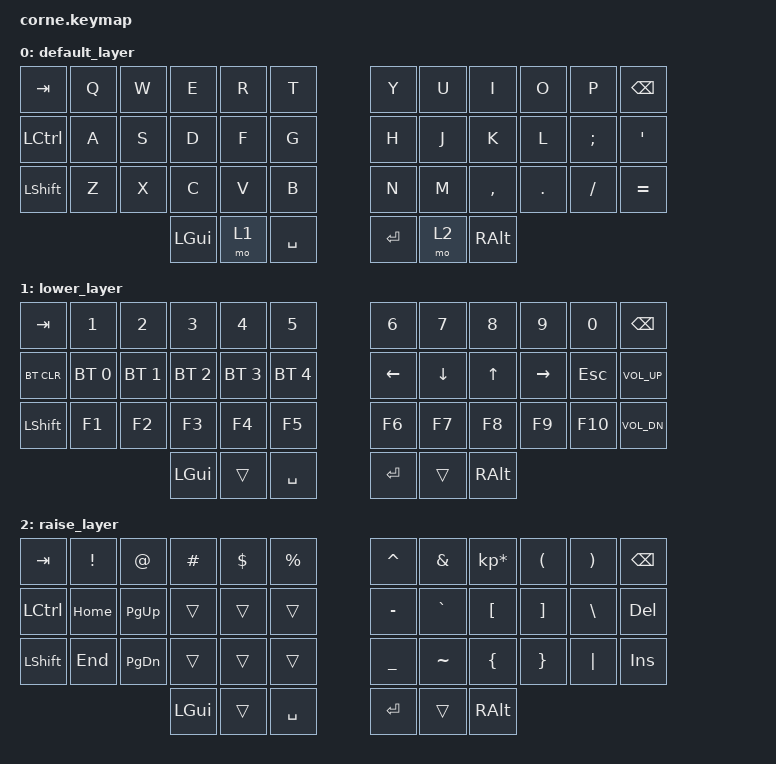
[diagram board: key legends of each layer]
/*
 * Copyright (c) 2020 The ZMK Contributors
 *
 * SPDX-License-Identifier: MIT
 */

#include <behaviors.dtsi>
#include <dt-bindings/zmk/keys.h>
#include <dt-bindings/zmk/bt.h>

/ {
    keymap {
        compatible = "zmk,keymap";

        default_layer {
            // -----------------------------------------------------------------------------------------
            // |  TAB |  Q  |  W  |  E  |  R  |  T  |   |  Y  |  U   |  I  |  O  |  P  | BKSP |
            // | CTRL |  A  |  S  |  D  |  F  |  G  |   |  H  |  J   |  K  |  L  |  ;  |  '   |
            // | SHFT |  Z  |  X  |  C  |  V  |  B  |   |  N  |  M   |  ,  |  .  |  /  | ESC  |
            //                    | GUI | LWR | SPC |   | ENT | RSE  | ALT |

            bindings = <
  &kp TAB  &kp Q  &kp W     &kp E  &kp R      &kp T      &kp Y  &kp U      &kp I    &kp O     &kp P   &kp BSPC
&kp LCTRL  &kp A  &kp S     &kp D  &kp F      &kp G      &kp H  &kp J      &kp K    &kp L  &kp SEMI    &kp SQT
&kp LSHFT  &kp Z  &kp X     &kp C  &kp V      &kp B      &kp N  &kp M  &kp COMMA  &kp DOT  &kp FSLH  &kp EQUAL
                         &kp LGUI  &mo 1  &kp SPACE    &kp RET  &mo 2   &kp RALT
            >;
        };

        lower_layer {
            // -----------------------------------------------------------------------------------------
            // |  TAB |  1  |  2  |  3  |  4  |  5  |   |  6  |  7  |  8  |  9  |  0  | BKSP |
            // | BTCLR| BT1 | BT2 | BT3 | BT4 | BT5 |   | LFT | DWN |  UP | RGT |     |      |
            // | SHFT |     |     |     |     |     |   |     |     |     |     |     |      |
            //                    | GUI |     | SPC |   | ENT |     | ALT |

            bindings = <
   &kp TAB        &kp N1        &kp N2        &kp N3        &kp N4        &kp N5      &kp N6    &kp N7    &kp N8     &kp N9   &kp N0      &kp BSPC
&bt BT_CLR  &bt BT_SEL 0  &bt BT_SEL 1  &bt BT_SEL 2  &bt BT_SEL 3  &bt BT_SEL 4    &kp LEFT  &kp DOWN    &kp UP  &kp RIGHT  &kp ESC  &kp C_VOL_UP
 &kp LSHFT        &kp F1        &kp F2        &kp F3        &kp F4        &kp F5      &kp F6    &kp F7    &kp F8     &kp F9  &kp F10  &kp C_VOL_DN
                                            &kp LGUI        &trans     &kp SPACE     &kp RET    &trans  &kp RALT
            >;
        };

        raise_layer {
            // -----------------------------------------------------------------------------------------
            // |  TAB |  !  |  @  |  #  |  $  |  %  |   |  ^  |  &  |  *  |  (  |  )  | BKSP |
            // | CTRL |     |     |     |     |     |   |  -  |  =  |  [  |  ]  |  \  |  `   |
            // | SHFT |     |     |     |     |     |   |  _  |  +  |  {  |  }  | "|" |  ~   |
            //                    | GUI |     | SPC |   | ENT |     | ALT |

            bindings = <
  &kp TAB  &kp EXCL         &kp AT  &kp HASH  &kp DLLR  &kp PRCNT    &kp CARET   &kp AMPS  &kp KP_MULTIPLY  &kp LPAR  &kp RPAR  &kp BSPC
&kp LCTRL  &kp HOME    &kp PAGE_UP    &trans    &trans     &trans    &kp MINUS  &kp GRAVE         &kp LBKT  &kp RBKT  &kp BSLH   &kp DEL
&kp LSHFT   &kp END  &kp PAGE_DOWN    &trans    &trans     &trans    &kp UNDER  &kp TILDE         &kp LBRC  &kp RBRC  &kp PIPE   &kp INS
                                    &kp LGUI    &trans  &kp SPACE      &kp RET     &trans         &kp RALT
            >;
        };
    };
};
